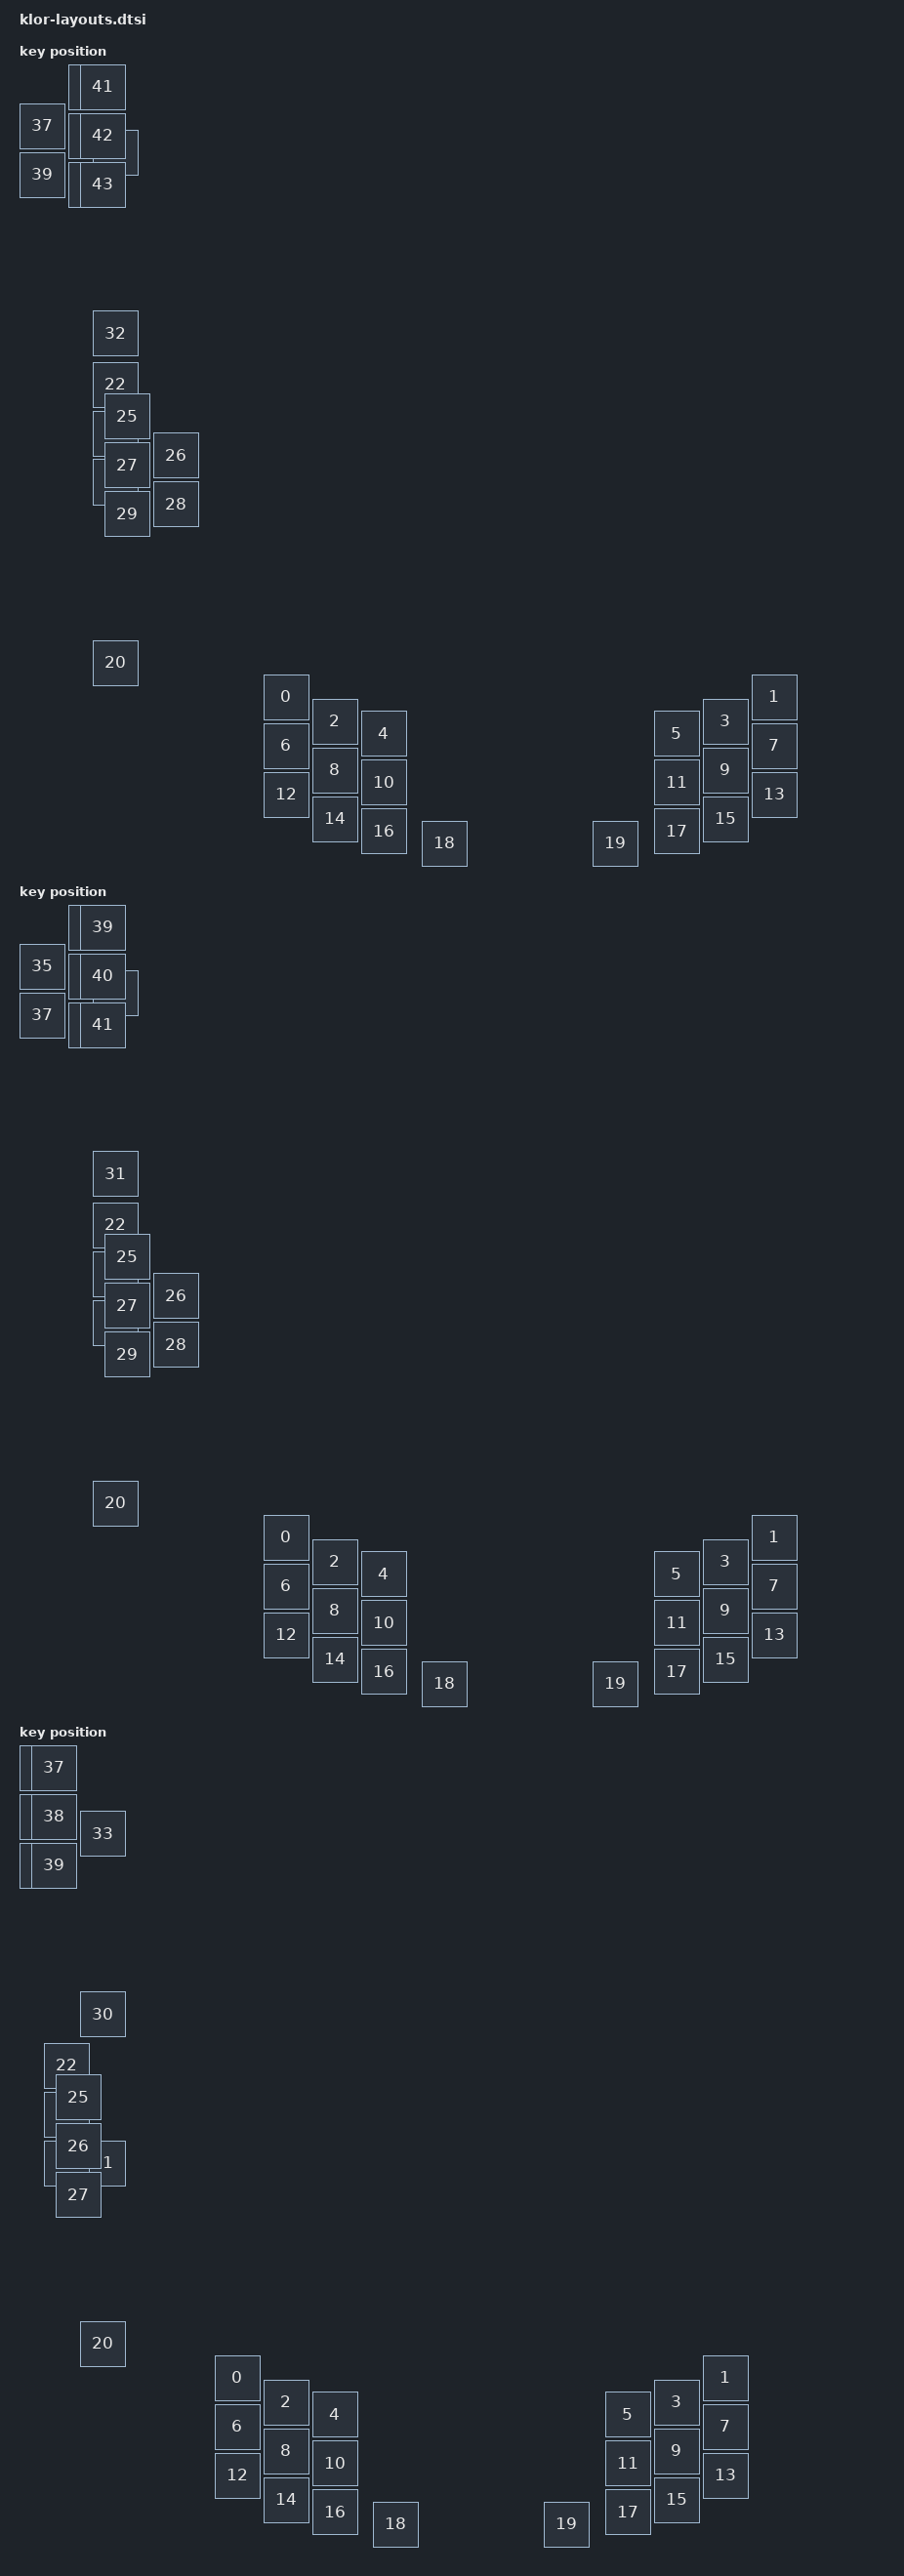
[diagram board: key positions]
#include <physical_layouts.dtsi>

/ {
  physical_layout0: physical_layout_0 {
    compatible = "zmk,physical-layout";
    display-name = "LAYOUT_polydactyl";

    transform = <&default_transform>;

    keys  //                     w   h    x    y     rot    rx    ry
      = <&key_physical_attrs 100 100  500 1250       0     0     0>
      , <&key_physical_attrs 100 100 1500 1250       0     0     0>
      , <&key_physical_attrs 100 100  600 1300       0     0     0>
      , <&key_physical_attrs 100 100 1400 1300       0     0     0>
      , <&key_physical_attrs 100 100  700 1325       0     0     0>
      , <&key_physical_attrs 100 100 1300 1325       0     0     0>
      , <&key_physical_attrs 100 100  500 1350       0     0     0>
      , <&key_physical_attrs 100 100 1500 1350       0     0     0>
      , <&key_physical_attrs 100 100  600 1400       0     0     0>
      , <&key_physical_attrs 100 100 1400 1400       0     0     0>
      , <&key_physical_attrs 100 100  700 1425       0     0     0>
      , <&key_physical_attrs 100 100 1300 1425       0     0     0>
      , <&key_physical_attrs 100 100  500 1450       0     0     0>
      , <&key_physical_attrs 100 100 1500 1450       0     0     0>
      , <&key_physical_attrs 100 100  600 1500       0     0     0>
      , <&key_physical_attrs 100 100 1400 1500       0     0     0>
      , <&key_physical_attrs 100 100  700 1525       0     0     0>
      , <&key_physical_attrs 100 100 1300 1525       0     0     0>
      , <&key_physical_attrs 100 100  825 1550       0     0     0>
      , <&key_physical_attrs 100 100 1175 1550       0     0     0>
      , <&key_physical_attrs 100 100  150 1180       0     0     0>
      , <&key_physical_attrs 100 100  150  810       0     0     0>
      , <&key_physical_attrs 100 100  150  610       0     0     0>
      , <&key_physical_attrs 100 100  150  710       0     0     0>
      , <&key_physical_attrs 100 100  150  810       0     0     0>
      , <&key_physical_attrs 100 100  175  675       0     0     0>
      , <&key_physical_attrs 100 100  275  755       0     0     0>
      , <&key_physical_attrs 100 100  175  775       0     0     0>
      , <&key_physical_attrs 100 100  275  855       0     0     0>
      , <&key_physical_attrs 100 100  175  875       0     0     0>
      , <&key_physical_attrs 100 100  150  505       0     0     0>
      , <&key_physical_attrs 100 100  150  505       0     0     0>
      , <&key_physical_attrs 100 100  150  505       0     0     0>
      , <&key_physical_attrs 100 100  150  135       0     0     0>
      , <&key_physical_attrs 100 100  150  135       0     0     0>
      , <&key_physical_attrs 100 100  150  135       0     0     0>
      , <&key_physical_attrs 100 100  100    0       0     0     0>
      , <&key_physical_attrs 100 100    0   80       0     0     0>
      , <&key_physical_attrs 100 100  100  100       0     0     0>
      , <&key_physical_attrs 100 100    0  180       0     0     0>
      , <&key_physical_attrs 100 100  100  200       0     0     0>
      , <&key_physical_attrs 100 100  125    0       0     0     0>
      , <&key_physical_attrs 100 100  125  100       0     0     0>
      , <&key_physical_attrs 100 100  125  200       0     0     0>
      ;
  };

  physical_layout1: physical_layout_1 {
    compatible = "zmk,physical-layout";
    display-name = "LAYOUT_konrad";

    transform = <&default_transform>;

    keys  //                     w   h    x    y     rot    rx    ry
      = <&key_physical_attrs 100 100  500 1250       0     0     0>
      , <&key_physical_attrs 100 100 1500 1250       0     0     0>
      , <&key_physical_attrs 100 100  600 1300       0     0     0>
      , <&key_physical_attrs 100 100 1400 1300       0     0     0>
      , <&key_physical_attrs 100 100  700 1325       0     0     0>
      , <&key_physical_attrs 100 100 1300 1325       0     0     0>
      , <&key_physical_attrs 100 100  500 1350       0     0     0>
      , <&key_physical_attrs 100 100 1500 1350       0     0     0>
      , <&key_physical_attrs 100 100  600 1400       0     0     0>
      , <&key_physical_attrs 100 100 1400 1400       0     0     0>
      , <&key_physical_attrs 100 100  700 1425       0     0     0>
      , <&key_physical_attrs 100 100 1300 1425       0     0     0>
      , <&key_physical_attrs 100 100  500 1450       0     0     0>
      , <&key_physical_attrs 100 100 1500 1450       0     0     0>
      , <&key_physical_attrs 100 100  600 1500       0     0     0>
      , <&key_physical_attrs 100 100 1400 1500       0     0     0>
      , <&key_physical_attrs 100 100  700 1525       0     0     0>
      , <&key_physical_attrs 100 100 1300 1525       0     0     0>
      , <&key_physical_attrs 100 100  825 1550       0     0     0>
      , <&key_physical_attrs 100 100 1175 1550       0     0     0>
      , <&key_physical_attrs 100 100  150 1180       0     0     0>
      , <&key_physical_attrs 100 100  150  810       0     0     0>
      , <&key_physical_attrs 100 100  150  610       0     0     0>
      , <&key_physical_attrs 100 100  150  710       0     0     0>
      , <&key_physical_attrs 100 100  150  810       0     0     0>
      , <&key_physical_attrs 100 100  175  675       0     0     0>
      , <&key_physical_attrs 100 100  275  755       0     0     0>
      , <&key_physical_attrs 100 100  175  775       0     0     0>
      , <&key_physical_attrs 100 100  275  855       0     0     0>
      , <&key_physical_attrs 100 100  175  875       0     0     0>
      , <&key_physical_attrs 100 100  150  505       0     0     0>
      , <&key_physical_attrs 100 100  150  505       0     0     0>
      , <&key_physical_attrs 100 100  150  135       0     0     0>
      , <&key_physical_attrs 100 100  150  135       0     0     0>
      , <&key_physical_attrs 100 100  100    0       0     0     0>
      , <&key_physical_attrs 100 100    0   80       0     0     0>
      , <&key_physical_attrs 100 100  100  100       0     0     0>
      , <&key_physical_attrs 100 100    0  180       0     0     0>
      , <&key_physical_attrs 100 100  100  200       0     0     0>
      , <&key_physical_attrs 100 100  125    0       0     0     0>
      , <&key_physical_attrs 100 100  125  100       0     0     0>
      , <&key_physical_attrs 100 100  125  200       0     0     0>
      ;
  };

  physical_layout2: physical_layout_2 {
    compatible = "zmk,physical-layout";
    display-name = "LAYOUT_yubitsume";

    transform = <&default_transform>;

    keys  //                     w   h    x    y     rot    rx    ry
      = <&key_physical_attrs 100 100  400 1250       0     0     0>
      , <&key_physical_attrs 100 100 1400 1250       0     0     0>
      , <&key_physical_attrs 100 100  500 1300       0     0     0>
      , <&key_physical_attrs 100 100 1300 1300       0     0     0>
      , <&key_physical_attrs 100 100  600 1325       0     0     0>
      , <&key_physical_attrs 100 100 1200 1325       0     0     0>
      , <&key_physical_attrs 100 100  400 1350       0     0     0>
      , <&key_physical_attrs 100 100 1400 1350       0     0     0>
      , <&key_physical_attrs 100 100  500 1400       0     0     0>
      , <&key_physical_attrs 100 100 1300 1400       0     0     0>
      , <&key_physical_attrs 100 100  600 1425       0     0     0>
      , <&key_physical_attrs 100 100 1200 1425       0     0     0>
      , <&key_physical_attrs 100 100  400 1450       0     0     0>
      , <&key_physical_attrs 100 100 1400 1450       0     0     0>
      , <&key_physical_attrs 100 100  500 1500       0     0     0>
      , <&key_physical_attrs 100 100 1300 1500       0     0     0>
      , <&key_physical_attrs 100 100  600 1525       0     0     0>
      , <&key_physical_attrs 100 100 1200 1525       0     0     0>
      , <&key_physical_attrs 100 100  725 1550       0     0     0>
      , <&key_physical_attrs 100 100 1075 1550       0     0     0>
      , <&key_physical_attrs 100 100  125 1180       0     0     0>
      , <&key_physical_attrs 100 100  125  810       0     0     0>
      , <&key_physical_attrs 100 100   50  610       0     0     0>
      , <&key_physical_attrs 100 100   50  710       0     0     0>
      , <&key_physical_attrs 100 100   50  810       0     0     0>
      , <&key_physical_attrs 100 100   75  675       0     0     0>
      , <&key_physical_attrs 100 100   75  775       0     0     0>
      , <&key_physical_attrs 100 100   75  875       0     0     0>
      , <&key_physical_attrs 100 100  125  505       0     0     0>
      , <&key_physical_attrs 100 100  125  505       0     0     0>
      , <&key_physical_attrs 100 100  125  505       0     0     0>
      , <&key_physical_attrs 100 100  125  135       0     0     0>
      , <&key_physical_attrs 100 100  125  135       0     0     0>
      , <&key_physical_attrs 100 100  125  135       0     0     0>
      , <&key_physical_attrs 100 100    0    0       0     0     0>
      , <&key_physical_attrs 100 100    0  100       0     0     0>
      , <&key_physical_attrs 100 100    0  200       0     0     0>
      , <&key_physical_attrs 100 100   25    0       0     0     0>
      , <&key_physical_attrs 100 100   25  100       0     0     0>
      , <&key_physical_attrs 100 100   25  200       0     0     0>
      ;
  };

  physical_layout3: physical_layout_3 {
    compatible = "zmk,physical-layout";
    display-name = "LAYOUT_saegewerk";

    transform = <&default_transform>;

    keys  //                     w   h    x    y     rot    rx    ry
      = <&key_physical_attrs 100 100  400 1250       0     0     0>
      , <&key_physical_attrs 100 100 1400 1250       0     0     0>
      , <&key_physical_attrs 100 100  500 1300       0     0     0>
      , <&key_physical_attrs 100 100 1300 1300       0     0     0>
      , <&key_physical_attrs 100 100  600 1325       0     0     0>
      , <&key_physical_attrs 100 100 1200 1325       0     0     0>
      , <&key_physical_attrs 100 100  400 1350       0     0     0>
      , <&key_physical_attrs 100 100 1400 1350       0     0     0>
      , <&key_physical_attrs 100 100  500 1400       0     0     0>
      , <&key_physical_attrs 100 100 1300 1400       0     0     0>
      , <&key_physical_attrs 100 100  600 1425       0     0     0>
      , <&key_physical_attrs 100 100 1200 1425       0     0     0>
      , <&key_physical_attrs 100 100  400 1450       0     0     0>
      , <&key_physical_attrs 100 100 1400 1450       0     0     0>
      , <&key_physical_attrs 100 100  500 1500       0     0     0>
      , <&key_physical_attrs 100 100 1300 1500       0     0     0>
      , <&key_physical_attrs 100 100  600 1525       0     0     0>
      , <&key_physical_attrs 100 100 1200 1525       0     0     0>
      , <&key_physical_attrs 100 100  725 1550       0     0     0>
      , <&key_physical_attrs 100 100 1075 1550       0     0     0>
      , <&key_physical_attrs 100 100  125 1180       0     0     0>
      , <&key_physical_attrs 100 100  125  810       0     0     0>
      , <&key_physical_attrs 100 100   50  610       0     0     0>
      , <&key_physical_attrs 100 100   50  710       0     0     0>
      , <&key_physical_attrs 100 100   50  810       0     0     0>
      , <&key_physical_attrs 100 100   75  675       0     0     0>
      , <&key_physical_attrs 100 100   75  775       0     0     0>
      , <&key_physical_attrs 100 100   75  875       0     0     0>
      , <&key_physical_attrs 100 100  125  505       0     0     0>
      , <&key_physical_attrs 100 100  125  505       0     0     0>
      , <&key_physical_attrs 100 100  125  135       0     0     0>
      , <&key_physical_attrs 100 100  125  135       0     0     0>
      , <&key_physical_attrs 100 100    0    0       0     0     0>
      , <&key_physical_attrs 100 100    0  100       0     0     0>
      , <&key_physical_attrs 100 100    0  200       0     0     0>
      , <&key_physical_attrs 100 100   25    0       0     0     0>
      , <&key_physical_attrs 100 100   25  100       0     0     0>
      , <&key_physical_attrs 100 100   25  200       0     0     0>
      ;
  };
};

